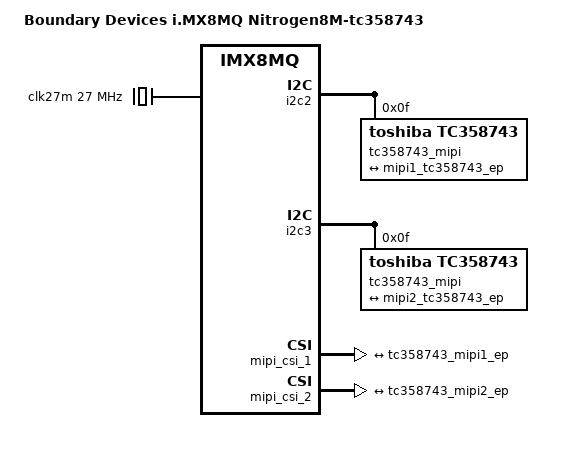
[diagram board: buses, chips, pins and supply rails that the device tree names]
// SPDX-License-Identifier: (GPL-2.0+ OR MIT)
/*
 * Copyright 2019 Boundary Devices
 */

#include "imx8mq-nitrogen8m.dts"

/ {
	model = "Boundary Devices i.MX8MQ Nitrogen8M-tc358743";
	compatible = "boundary,imx8mq-nitrogen8m-tc358743", "fsl,imx8mq";

	clk27m: clk27m {
		compatible = "fixed-clock";
		clock-output-names = "clk27m";
		clock-frequency = <27000000>;
		#clock-cells = <0>;
	};
};

&iomuxc {
	/delete-node/ i2c2-ov5640-mipigrp;
	/delete-node/ i2c3-ov5640-mipigrp;

	pinctrl_i2c2_tc358743_mipi: i2c2-tc358743-mipigrp {
		fsl,pins = <
#define GPIRQ_CSI1_TC3587	<&gpio3 3 IRQ_TYPE_LEVEL_HIGH>
#define GP_CSI1_TC3587_IRQ	<&gpio3 3 GPIO_ACTIVE_HIGH>
			MX8MQ_IOMUXC_NAND_CE2_B_GPIO3_IO3		0x45
#define GP_CSI1_TC3587_RESET	<&gpio3 17 GPIO_ACTIVE_LOW>
			MX8MQ_IOMUXC_NAND_WE_B_GPIO3_IO17		0x05
		>;
	};

	pinctrl_i2c3_tc358743_mipi: i2c3-tc358743-mipigrp {
		fsl,pins = <
#define GPIRQ_CSI2_TC3587	<&gpio3 2 IRQ_TYPE_LEVEL_HIGH>
#define GP_CSI2_TC3587_IRQ	<&gpio3 2 GPIO_ACTIVE_HIGH>
			MX8MQ_IOMUXC_NAND_CE1_B_GPIO3_IO2		0x45
#define GP_CSI2_TC3587_RESET	<&gpio2 19 GPIO_ACTIVE_LOW>
			MX8MQ_IOMUXC_SD2_RESET_B_GPIO2_IO19		0x05
		>;
	};
};

&i2c2 {
	/delete-node/ ov5640-mipi1@3c;

	tc358743_mipi@f {
		clocks = <&clk27m>;
		clock-names = "refclk";
		compatible = "toshiba,tc358743";
		interrupts-extended = GPIRQ_CSI1_TC3587;
		pinctrl-names = "default";
		pinctrl-0 = <&pinctrl_i2c2_tc358743_mipi>;
		reg = <0x0f>;
		reset-gpios = GP_CSI1_TC3587_RESET;
		status = "okay";

		port@0 {
			tc358743_mipi1_ep: endpoint {
				remote-endpoint = <&mipi1_tc358743_ep>;
				data-lanes = <1 2 3 4>;
				clock-lanes = <0>;
				clock-noncontinuous;
				link-frequencies = /bits/ 64 <297000000>;
			};
		};
	};
};

&i2c3 {
	/delete-node/ ov5640-mipi2@3c;

	tc358743_mipi@f {
		clocks = <&clk27m>;
		clock-names = "refclk";
		compatible = "toshiba,tc358743";
		interrupts-extended = GPIRQ_CSI2_TC3587;
		pinctrl-names = "default";
		pinctrl-0 = <&pinctrl_i2c3_tc358743_mipi>;
		reg = <0x0f>;
		reset-gpios = GP_CSI2_TC3587_RESET;
		status = "okay";

		port@0 {
			tc358743_mipi2_ep: endpoint {
				remote-endpoint = <&mipi2_tc358743_ep>;
				data-lanes = <1 2 3 4>;
				clock-lanes = <0>;
				clock-noncontinuous;
				link-frequencies = /bits/ 64 <297000000>;
			};
		};
	};
};

&mipi_csi_1 {
	port {
		/delete-node/ endpoint@1;

		mipi1_tc358743_ep: endpoint@1 {
			remote-endpoint = <&tc358743_mipi1_ep>;
			data-lanes = <1 2 3 4>;
			csis-hs-settle = <13>;
			csis-clk-settle = <2>;
			csis-wclk;
		};
	};
};

&mipi_csi_2 {
	port {
		/delete-node/ endpoint@1;

		mipi2_tc358743_ep: endpoint@1 {
			remote-endpoint = <&tc358743_mipi2_ep>;
			data-lanes = <1 2 3 4>;
			csis-hs-settle = <13>;
			csis-clk-settle = <2>;
			csis-wclk;
		};
	};
};
